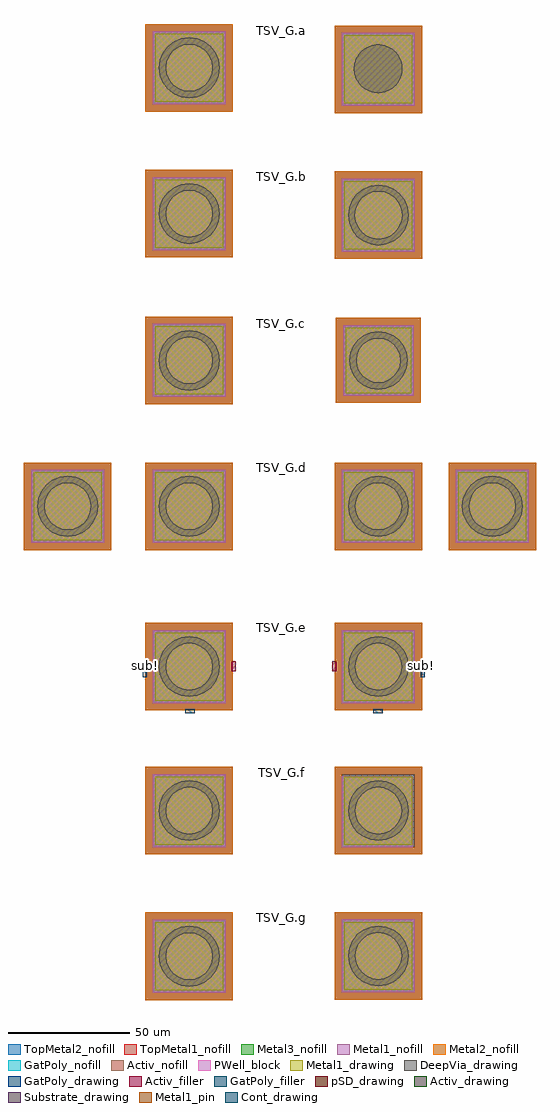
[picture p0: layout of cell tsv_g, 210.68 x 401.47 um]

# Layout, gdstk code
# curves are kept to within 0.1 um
import gdstk
lib = gdstk.Library(unit=1e-6, precision=1e-09)
def R(c, l, rs):  # rectangles x0, y0, x1, y1
    for r in rs: c.add(gdstk.rectangle(r[:2], r[2:], *l))
def P(c, l, *ps):  # polygons
    for p in ps: c.add(gdstk.Polygon(p, *l))
Activ_drawing = (1, 0)
Activ_filler = (1, 22)
Activ_nofill = (1, 23)
GatPoly_drawing = (5, 0)
GatPoly_filler = (5, 22)
GatPoly_nofill = (5, 23)
Cont_drawing = (6, 0)
Metal1_drawing = (8, 0)
Metal1_pin = (8, 2)
Metal1_nofill = (8, 23)
Metal2_nofill = (10, 23)
pSD_drawing = (14, 0)
Metal3_nofill = (30, 23)
Substrate_drawing = (40, 0)
PWell_block = (46, 21)
TopMetal1_nofill = (126, 23)
TopMetal2_nofill = (134, 23)
DeepVia_drawing = (152, 0)

tsv_g = lib.new_cell('tsv_g')
R(tsv_g, Activ_drawing, [(-56.125,-208.455,-55.345,-207.675), (57.315,-208.455,58.095,-207.675)])
R(tsv_g, Activ_filler, [(-20.345,-210.885,-18.685,-206.885), (20.93,-210.885,22.59,-206.885)])
R(tsv_g, Activ_nofill, [(-52.845,-343.155,-22.845,-313.155), (24.99,-343.025,54.99,-313.025), (-52.845,-283.23,-22.845,-253.23), (24.99,-283.23,54.99,-253.23), (-52.845,-223.99,-22.845,-193.99), (24.99,-223.99,54.99,-193.99), (-102.845,-158.075,-72.845,-128.075), (-52.845,-158.075,-22.845,-128.075), (24.99,-158.075,54.99,-128.075), (71.835,-158.075,101.835,-128.075), (-52.845,-98.06,-22.845,-68.06), (25.49,-97.56,54.49,-68.56), (24.99,-38.31,54.99,-8.31), (-52.845,-37.69,-22.845,-7.69), (24.99,21.69,54.99,51.69), (-52.845,22.31,-22.845,52.31)])
R(tsv_g, GatPoly_drawing, [(-57.005,-213.345,-55.345,-209.345), (57.315,-213.345,58.975,-209.345)])
R(tsv_g, GatPoly_filler, [(-39.525,-228.24,-35.525,-226.58), (37.77,-228.14,41.77,-226.48)])
R(tsv_g, GatPoly_nofill, [(-52.845,-343.155,-22.845,-313.155), (24.99,-343.025,54.99,-313.025), (-52.845,-283.23,-22.845,-253.23), (24.99,-283.23,54.99,-253.23), (-52.845,-223.99,-22.845,-193.99), (24.99,-223.99,54.99,-193.99), (-102.845,-158.075,-72.845,-128.075), (-52.845,-158.075,-22.845,-128.075), (24.99,-158.075,54.99,-128.075), (71.835,-158.075,101.835,-128.075), (-52.845,-98.06,-22.845,-68.06), (25.49,-97.56,54.49,-68.56), (24.99,-38.31,54.99,-8.31), (-52.845,-37.69,-22.845,-7.69), (24.99,21.69,54.99,51.69), (-52.845,22.31,-22.845,52.31)])
R(tsv_g, Cont_drawing, [(39.836,-226.64,39.996,-226.48), (-55.985,-208.315,-55.825,-208.155), (-55.645,-208.315,-55.485,-208.155), (57.455,-208.315,57.615,-208.155), (57.795,-208.315,57.955,-208.155), (-55.985,-207.975,-55.825,-207.815), (-55.645,-207.975,-55.485,-207.815), (57.455,-207.975,57.615,-207.815), (57.795,-207.975,57.955,-207.815)])
R(tsv_g, Metal1_drawing, [(-51.845,-342.155,-23.845,-314.155), (25.99,-342.025,53.86,-314.155), (-51.845,-282.23,-23.845,-254.23), (25.99,-282.23,53.99,-254.23), (-51.845,-222.99,-23.845,-194.99), (25.99,-222.99,53.99,-194.99), (57.455,-208.405,57.955,-207.75), (-55.985,-208.385,-55.485,-207.765), (-55.985,-208.315,-55.485,-207.815), (57.455,-208.315,57.955,-207.815), (-101.845,-157.075,-73.845,-129.075), (-51.845,-157.075,-23.845,-129.075), (25.99,-157.075,53.99,-129.075), (72.835,-157.075,100.835,-129.075), (-51.845,-97.06,-23.845,-69.06), (26.49,-96.56,53.49,-69.56), (25.99,-37.31,53.99,-9.31), (-51.845,-36.69,-23.845,-8.69), (25.99,22.69,53.99,50.69), (-51.845,23.31,-23.845,51.31)])
R(tsv_g, Metal1_pin, [(-55.985,-208.315,-55.485,-207.815), (57.455,-208.315,57.955,-207.815)])
R(tsv_g, Metal1_nofill, [(-55.845,-346.155,-19.845,-310.155), (21.99,-346.025,57.99,-310.025), (-55.845,-286.23,-19.845,-250.23), (21.99,-286.23,57.99,-250.23), (-55.845,-226.99,-19.845,-190.99), (21.99,-226.99,57.99,-190.99), (-105.845,-161.075,-69.845,-125.075), (-55.845,-161.075,-19.845,-125.075), (21.99,-161.075,57.99,-125.075), (68.835,-161.075,104.835,-125.075), (-55.845,-101.06,-19.845,-65.06), (22.49,-100.56,57.49,-65.56), (21.99,-41.31,57.99,-5.31), (-55.845,-40.69,-19.845,-4.69), (21.99,18.69,57.99,54.69), (-55.845,19.31,-19.845,55.31)])
R(tsv_g, Metal2_nofill, [(-55.845,-346.155,-19.845,-310.155), (21.99,-346.025,57.99,-310.025), (-55.845,-286.23,-19.845,-250.23), (21.99,-286.23,57.99,-250.23), (-55.845,-226.99,-19.845,-190.99), (21.99,-226.99,57.99,-190.99), (-105.845,-161.075,-69.845,-125.075), (-55.845,-161.075,-19.845,-125.075), (21.99,-161.075,57.99,-125.075), (68.835,-161.075,104.835,-125.075), (-55.845,-101.06,-19.845,-65.06), (22.49,-100.56,57.49,-65.56), (21.99,-41.31,57.99,-5.31), (-55.845,-40.69,-19.845,-4.69), (21.99,18.69,57.99,54.69), (-55.845,19.31,-19.845,55.31)])
R(tsv_g, pSD_drawing, [(-56.155,-208.485,-55.315,-207.645), (57.285,-208.485,58.125,-207.645)])
R(tsv_g, Metal3_nofill, [(-55.845,-346.155,-19.845,-310.155), (21.99,-346.025,57.99,-310.025), (-55.845,-286.23,-19.845,-250.23), (21.99,-286.23,57.99,-250.23), (-55.845,-226.99,-19.845,-190.99), (21.99,-226.99,57.99,-190.99), (-105.845,-161.075,-69.845,-125.075), (-55.845,-161.075,-19.845,-125.075), (21.99,-161.075,57.99,-125.075), (68.835,-161.075,104.835,-125.075), (-55.845,-101.06,-19.845,-65.06), (22.49,-100.56,57.49,-65.56), (21.99,-41.31,57.99,-5.31), (-55.845,-40.69,-19.845,-4.69), (21.99,18.69,57.99,54.69), (-55.845,19.31,-19.845,55.31)])
R(tsv_g, Substrate_drawing, [(-56.125,-208.455,-55.345,-207.675), (57.315,-208.455,58.095,-207.675)])
R(tsv_g, PWell_block, [(-52.845,-343.155,-22.845,-313.155), (24.99,-343.025,54.99,-313.025), (-52.845,-283.23,-22.845,-253.23), (24.99,-283.23,54.115,-254.105), (-52.845,-223.99,-22.845,-193.99), (24.99,-223.99,54.99,-193.99), (-102.845,-158.075,-72.845,-128.075), (-52.845,-158.075,-22.845,-128.075), (24.99,-158.075,54.99,-128.075), (71.835,-158.075,101.835,-128.075), (-52.845,-98.06,-22.845,-68.06), (25.49,-97.56,54.49,-68.56), (24.99,-38.31,54.99,-8.31), (-52.845,-37.69,-22.845,-7.69), (24.99,21.69,54.99,51.69), (-52.845,22.31,-22.845,52.31)])
R(tsv_g, TopMetal1_nofill, [(-55.845,-346.155,-19.845,-310.155), (21.99,-346.025,57.99,-310.025), (-55.845,-286.23,-19.845,-250.23), (21.99,-286.23,57.99,-250.23), (-55.845,-226.99,-19.845,-190.99), (21.99,-226.99,57.99,-190.99), (-105.845,-161.075,-69.845,-125.075), (-55.845,-161.075,-19.845,-125.075), (21.99,-161.075,57.99,-125.075), (68.835,-161.075,104.835,-125.075), (-55.845,-101.06,-19.845,-65.06), (22.49,-100.56,57.49,-65.56), (21.99,-41.31,57.99,-5.31), (-55.845,-40.69,-19.845,-4.69), (21.99,18.69,57.99,54.69), (-55.845,19.31,-19.845,55.31)])
R(tsv_g, TopMetal2_nofill, [(-55.845,-346.155,-19.845,-310.155), (21.99,-346.025,57.99,-310.025), (-55.845,-286.23,-19.845,-250.23), (21.99,-286.23,57.99,-250.23), (-55.845,-226.99,-19.845,-190.99), (21.99,-226.99,57.99,-190.99), (-105.845,-161.075,-69.845,-125.075), (-55.845,-161.075,-19.845,-125.075), (21.99,-161.075,57.99,-125.075), (68.835,-161.075,104.835,-125.075), (-55.845,-101.06,-19.845,-65.06), (22.49,-100.56,57.49,-65.56), (21.99,-41.31,57.99,-5.31), (-55.845,-40.69,-19.845,-4.69), (21.99,18.69,57.99,54.69), (-55.845,19.31,-19.845,55.31)])
P(tsv_g, DeepVia_drawing, [(39.635,26.908),(37.688,27.148),(35.826,27.763),(34.12,28.73),(32.635,30.011),(31.429,31.556),(30.547,33.308),(30.024,35.198),(29.88,37.153),(30.12,39.1),(30.735,40.962),(31.702,42.668),(32.983,44.153),(34.528,45.359),(36.28,46.241),(38.17,46.764),(40.125,46.908),(42.072,46.668),(43.934,46.053),(45.64,45.086),(47.125,43.805),(48.331,42.26),(49.213,40.508),(49.736,38.618),(49.88,36.663),(49.64,34.716),(49.025,32.854),(48.058,31.148),(46.777,29.663),(45.232,28.457),(43.48,27.575),(41.59,27.052)],
  [(-37.845,24.81),(-41.08,25.235),(-44.095,26.485),(-46.685,28.47),(-48.67,31.06),(-49.92,34.075),(-50.345,37.31),(-49.92,40.545),(-48.67,43.56),(-46.685,46.15),(-44.095,48.135),(-41.08,49.385),(-37.845,49.81),(-34.61,49.385),(-31.595,48.135),(-29.005,46.15),(-28.345,45.29),(-28.345,37.31),(-28.67,39.77),(-29.62,42.06),(-31.125,44.03),(-33.095,45.535),(-35.385,46.485),(-37.845,46.81),(-40.305,46.485),(-42.595,45.535),(-44.565,44.03),(-46.07,42.06),(-47.02,39.77),(-47.345,37.31),(-47.02,34.85),(-46.07,32.56),(-44.565,30.59),(-42.595,29.085),(-40.305,28.135),(-37.845,27.81),(-35.385,28.135),(-33.095,29.085),(-31.125,30.59),(-29.62,32.56),(-28.67,34.85),(-28.345,37.31),(-28.345,45.29),(-27.02,43.56),(-25.77,40.545),(-25.345,37.31),(-25.77,34.075),(-27.02,31.06),(-29.005,28.47),(-31.595,26.485),(-34.61,25.235)],
  [(39.99,-35.81),(36.755,-35.385),(33.74,-34.135),(31.15,-32.15),(29.165,-29.56),(27.915,-26.545),(27.49,-23.31),(27.915,-20.075),(29.165,-17.06),(30.29,-15.595),(30.29,-23.31),(30.62,-25.82),(31.59,-28.16),(33.13,-30.17),(35.14,-31.71),(37.48,-32.68),(39.99,-33.01),(42.5,-32.68),(44.84,-31.71),(46.85,-30.17),(48.39,-28.16),(49.36,-25.82),(49.69,-23.31),(49.36,-20.8),(48.39,-18.46),(46.85,-16.45),(44.84,-14.91),(42.5,-13.94),(39.99,-13.61),(37.48,-13.94),(35.14,-14.91),(33.13,-16.45),(31.59,-18.46),(30.62,-20.8),(30.29,-23.31),(30.29,-15.595),(31.15,-14.47),(33.74,-12.485),(36.755,-11.235),(39.99,-10.81),(43.225,-11.235),(46.24,-12.485),(48.83,-14.47),(50.815,-17.06),(52.065,-20.075),(52.49,-23.31),(52.065,-26.545),(50.815,-29.56),(48.83,-32.15),(46.24,-34.135),(43.225,-35.385)],
  [(39.99,-95.06),(36.885,-94.65),(33.99,-93.455),(31.505,-91.545),(29.595,-89.06),(28.4,-86.165),(27.99,-83.06),(28.4,-79.955),(29.595,-77.06),(30.99,-75.245),(30.99,-83.06),(31.295,-85.39),(32.195,-87.56),(33.625,-89.425),(35.49,-90.855),(37.66,-91.755),(39.99,-92.06),(42.32,-91.755),(44.49,-90.855),(46.355,-89.425),(47.785,-87.56),(48.685,-85.39),(48.99,-83.06),(48.685,-80.73),(47.785,-78.56),(46.355,-76.695),(44.49,-75.265),(42.32,-74.365),(39.99,-74.06),(37.66,-74.365),(35.49,-75.265),(33.625,-76.695),(32.195,-78.56),(31.295,-80.73),(30.99,-83.06),(30.99,-75.245),(31.505,-74.575),(33.99,-72.665),(36.885,-71.47),(39.99,-71.06),(43.095,-71.47),(45.99,-72.665),(48.475,-74.575),(50.385,-77.06),(51.58,-79.955),(51.99,-83.06),(51.58,-86.165),(50.385,-89.06),(48.475,-91.545),(45.99,-93.455),(43.095,-94.65)],
  [(-37.845,-35.19),(-41.08,-34.765),(-44.095,-33.515),(-46.685,-31.53),(-48.67,-28.94),(-49.92,-25.925),(-50.345,-22.69),(-49.92,-19.455),(-48.67,-16.44),(-46.685,-13.85),(-44.095,-11.865),(-41.08,-10.615),(-37.845,-10.19),(-34.61,-10.615),(-31.595,-11.865),(-29.005,-13.85),(-28.345,-14.71),(-28.345,-22.69),(-28.67,-20.23),(-29.62,-17.94),(-31.125,-15.97),(-33.095,-14.465),(-35.385,-13.515),(-37.845,-13.19),(-40.305,-13.515),(-42.595,-14.465),(-44.565,-15.97),(-46.07,-17.94),(-47.02,-20.23),(-47.345,-22.69),(-47.02,-25.15),(-46.07,-27.44),(-44.565,-29.41),(-42.595,-30.915),(-40.305,-31.865),(-37.845,-32.19),(-35.385,-31.865),(-33.095,-30.915),(-31.125,-29.41),(-29.62,-27.44),(-28.67,-25.15),(-28.345,-22.69),(-28.345,-14.71),(-27.02,-16.44),(-25.77,-19.455),(-25.345,-22.69),(-25.77,-25.925),(-27.02,-28.94),(-29.005,-31.53),(-31.595,-33.515),(-34.61,-34.765)],
  [(-37.845,-95.56),(-41.08,-95.135),(-44.095,-93.885),(-46.685,-91.9),(-48.67,-89.31),(-49.92,-86.295),(-50.345,-83.06),(-49.92,-79.825),(-48.67,-76.81),(-46.685,-74.22),(-44.095,-72.235),(-41.08,-70.985),(-37.845,-70.56),(-34.61,-70.985),(-31.595,-72.235),(-29.005,-74.22),(-28.345,-75.08),(-28.345,-83.06),(-28.67,-80.6),(-29.62,-78.31),(-31.125,-76.34),(-33.095,-74.835),(-35.385,-73.885),(-37.845,-73.56),(-40.305,-73.885),(-42.595,-74.835),(-44.565,-76.34),(-46.07,-78.31),(-47.02,-80.6),(-47.345,-83.06),(-47.02,-85.52),(-46.07,-87.81),(-44.565,-89.78),(-42.595,-91.285),(-40.305,-92.235),(-37.845,-92.56),(-35.385,-92.235),(-33.095,-91.285),(-31.125,-89.78),(-29.62,-87.81),(-28.67,-85.52),(-28.345,-83.06),(-28.345,-75.08),(-27.02,-76.81),(-25.77,-79.825),(-25.345,-83.06),(-25.77,-86.295),(-27.02,-89.31),(-29.005,-91.9),(-31.595,-93.885),(-34.61,-95.135)],
  [(-37.845,-155.575),(-41.08,-155.15),(-44.095,-153.9),(-46.685,-151.915),(-48.67,-149.325),(-49.92,-146.31),(-50.345,-143.075),(-49.92,-139.84),(-48.67,-136.825),(-46.685,-134.235),(-44.095,-132.25),(-41.08,-131),(-37.845,-130.575),(-34.61,-131),(-31.595,-132.25),(-29.005,-134.235),(-28.345,-135.095),(-28.345,-143.075),(-28.67,-140.615),(-29.62,-138.325),(-31.125,-136.355),(-33.095,-134.85),(-35.385,-133.9),(-37.845,-133.575),(-40.305,-133.9),(-42.595,-134.85),(-44.565,-136.355),(-46.07,-138.325),(-47.02,-140.615),(-47.345,-143.075),(-47.02,-145.535),(-46.07,-147.825),(-44.565,-149.795),(-42.595,-151.3),(-40.305,-152.25),(-37.845,-152.575),(-35.385,-152.25),(-33.095,-151.3),(-31.125,-149.795),(-29.62,-147.825),(-28.67,-145.535),(-28.345,-143.075),(-28.345,-135.095),(-27.02,-136.825),(-25.77,-139.84),(-25.345,-143.075),(-25.77,-146.31),(-27.02,-149.325),(-29.005,-151.915),(-31.595,-153.9),(-34.61,-155.15)],
  [(-87.845,-155.575),(-91.08,-155.15),(-94.095,-153.9),(-96.685,-151.915),(-98.67,-149.325),(-99.92,-146.31),(-100.345,-143.075),(-99.92,-139.84),(-98.67,-136.825),(-96.685,-134.235),(-94.095,-132.25),(-91.08,-131),(-87.845,-130.575),(-84.61,-131),(-81.595,-132.25),(-79.005,-134.235),(-78.345,-135.095),(-78.345,-143.075),(-78.67,-140.615),(-79.62,-138.325),(-81.125,-136.355),(-83.095,-134.85),(-85.385,-133.9),(-87.845,-133.575),(-90.305,-133.9),(-92.595,-134.85),(-94.565,-136.355),(-96.07,-138.325),(-97.02,-140.615),(-97.345,-143.075),(-97.02,-145.535),(-96.07,-147.825),(-94.565,-149.795),(-92.595,-151.3),(-90.305,-152.25),(-87.845,-152.575),(-85.385,-152.25),(-83.095,-151.3),(-81.125,-149.795),(-79.62,-147.825),(-78.67,-145.535),(-78.345,-143.075),(-78.345,-135.095),(-77.02,-136.825),(-75.77,-139.84),(-75.345,-143.075),(-75.77,-146.31),(-77.02,-149.325),(-79.005,-151.915),(-81.595,-153.9),(-84.61,-155.15)],
  [(-37.845,-221.49),(-41.08,-221.065),(-44.095,-219.815),(-46.685,-217.83),(-48.67,-215.24),(-49.92,-212.225),(-50.345,-208.99),(-49.92,-205.755),(-48.67,-202.74),(-46.685,-200.15),(-44.095,-198.165),(-41.08,-196.915),(-37.845,-196.49),(-34.61,-196.915),(-31.595,-198.165),(-29.005,-200.15),(-28.345,-201.01),(-28.345,-208.99),(-28.67,-206.53),(-29.62,-204.24),(-31.125,-202.27),(-33.095,-200.765),(-35.385,-199.815),(-37.845,-199.49),(-40.305,-199.815),(-42.595,-200.765),(-44.565,-202.27),(-46.07,-204.24),(-47.02,-206.53),(-47.345,-208.99),(-47.02,-211.45),(-46.07,-213.74),(-44.565,-215.71),(-42.595,-217.215),(-40.305,-218.165),(-37.845,-218.49),(-35.385,-218.165),(-33.095,-217.215),(-31.125,-215.71),(-29.62,-213.74),(-28.67,-211.45),(-28.345,-208.99),(-28.345,-201.01),(-27.02,-202.74),(-25.77,-205.755),(-25.345,-208.99),(-25.77,-212.225),(-27.02,-215.24),(-29.005,-217.83),(-31.595,-219.815),(-34.61,-221.065)],
  [(-37.845,-280.73),(-41.08,-280.305),(-44.095,-279.055),(-46.685,-277.07),(-48.67,-274.48),(-49.92,-271.465),(-50.345,-268.23),(-49.92,-264.995),(-48.67,-261.98),(-46.685,-259.39),(-44.095,-257.405),(-41.08,-256.155),(-37.845,-255.73),(-34.61,-256.155),(-31.595,-257.405),(-29.005,-259.39),(-28.345,-260.25),(-28.345,-268.23),(-28.67,-265.77),(-29.62,-263.48),(-31.125,-261.51),(-33.095,-260.005),(-35.385,-259.055),(-37.845,-258.73),(-40.305,-259.055),(-42.595,-260.005),(-44.565,-261.51),(-46.07,-263.48),(-47.02,-265.77),(-47.345,-268.23),(-47.02,-270.69),(-46.07,-272.98),(-44.565,-274.95),(-42.595,-276.455),(-40.305,-277.405),(-37.845,-277.73),(-35.385,-277.405),(-33.095,-276.455),(-31.125,-274.95),(-29.62,-272.98),(-28.67,-270.69),(-28.345,-268.23),(-28.345,-260.25),(-27.02,-261.98),(-25.77,-264.995),(-25.345,-268.23),(-25.77,-271.465),(-27.02,-274.48),(-29.005,-277.07),(-31.595,-279.055),(-34.61,-280.305)],
  [(-37.845,-340.655),(-41.08,-340.23),(-44.095,-338.98),(-46.685,-336.995),(-48.67,-334.405),(-49.92,-331.39),(-50.345,-328.155),(-49.92,-324.92),(-48.67,-321.905),(-46.685,-319.315),(-44.095,-317.33),(-41.08,-316.08),(-37.845,-315.655),(-34.61,-316.08),(-31.595,-317.33),(-29.005,-319.315),(-28.345,-320.175),(-28.345,-328.155),(-28.67,-325.695),(-29.62,-323.405),(-31.125,-321.435),(-33.095,-319.93),(-35.385,-318.98),(-37.845,-318.655),(-40.305,-318.98),(-42.595,-319.93),(-44.565,-321.435),(-46.07,-323.405),(-47.02,-325.695),(-47.345,-328.155),(-47.02,-330.615),(-46.07,-332.905),(-44.565,-334.875),(-42.595,-336.38),(-40.305,-337.33),(-37.845,-337.655),(-35.385,-337.33),(-33.095,-336.38),(-31.125,-334.875),(-29.62,-332.905),(-28.67,-330.615),(-28.345,-328.155),(-28.345,-320.175),(-27.02,-321.905),(-25.77,-324.92),(-25.345,-328.155),(-25.77,-331.39),(-27.02,-334.405),(-29.005,-336.995),(-31.595,-338.98),(-34.61,-340.23)],
  [(39.99,-280.73),(36.755,-280.305),(33.74,-279.055),(31.15,-277.07),(29.165,-274.48),(27.915,-271.465),(27.49,-268.23),(27.915,-264.995),(29.165,-261.98),(30.49,-260.25),(30.49,-268.23),(30.815,-270.69),(31.765,-272.98),(33.27,-274.95),(35.24,-276.455),(37.53,-277.405),(39.99,-277.73),(42.45,-277.405),(44.74,-276.455),(46.71,-274.95),(48.215,-272.98),(49.165,-270.69),(49.49,-268.23),(49.165,-265.77),(48.215,-263.48),(46.71,-261.51),(44.74,-260.005),(42.45,-259.055),(39.99,-258.73),(37.53,-259.055),(35.24,-260.005),(33.27,-261.51),(31.765,-263.48),(30.815,-265.77),(30.49,-268.23),(30.49,-260.25),(31.15,-259.39),(33.74,-257.405),(36.755,-256.155),(39.99,-255.73),(43.225,-256.155),(46.24,-257.405),(48.83,-259.39),(50.815,-261.98),(52.065,-264.995),(52.49,-268.23),(52.065,-271.465),(50.815,-274.48),(48.83,-277.07),(46.24,-279.055),(43.225,-280.305)],
  [(39.99,-340.525),(36.755,-340.1),(33.74,-338.85),(31.15,-336.865),(29.165,-334.275),(27.915,-331.26),(27.49,-328.025),(27.915,-324.79),(29.165,-321.775),(30.49,-320.045),(30.49,-328.025),(30.815,-330.485),(31.765,-332.775),(33.27,-334.745),(35.24,-336.25),(37.53,-337.2),(39.99,-337.525),(42.45,-337.2),(44.74,-336.25),(46.71,-334.745),(48.215,-332.775),(49.165,-330.485),(49.49,-328.025),(49.165,-325.565),(48.215,-323.275),(46.71,-321.305),(44.74,-319.8),(42.45,-318.85),(39.99,-318.525),(37.53,-318.85),(35.24,-319.8),(33.27,-321.305),(31.765,-323.275),(30.815,-325.565),(30.49,-328.025),(30.49,-320.045),(31.15,-319.185),(33.74,-317.2),(36.755,-315.95),(39.99,-315.525),(43.225,-315.95),(46.24,-317.2),(48.83,-319.185),(50.815,-321.775),(52.065,-324.79),(52.49,-328.025),(52.065,-331.26),(50.815,-334.275),(48.83,-336.865),(46.24,-338.85),(43.225,-340.1)],
  [(39.99,-155.575),(36.755,-155.15),(33.74,-153.9),(31.15,-151.915),(29.165,-149.325),(27.915,-146.31),(27.49,-143.075),(27.915,-139.84),(29.165,-136.825),(30.49,-135.095),(30.49,-143.075),(30.815,-145.535),(31.765,-147.825),(33.27,-149.795),(35.24,-151.3),(37.53,-152.25),(39.99,-152.575),(42.45,-152.25),(44.74,-151.3),(46.71,-149.795),(48.215,-147.825),(49.165,-145.535),(49.49,-143.075),(49.165,-140.615),(48.215,-138.325),(46.71,-136.355),(44.74,-134.85),(42.45,-133.9),(39.99,-133.575),(37.53,-133.9),(35.24,-134.85),(33.27,-136.355),(31.765,-138.325),(30.815,-140.615),(30.49,-143.075),(30.49,-135.095),(31.15,-134.235),(33.74,-132.25),(36.755,-131),(39.99,-130.575),(43.225,-131),(46.24,-132.25),(48.83,-134.235),(50.815,-136.825),(52.065,-139.84),(52.49,-143.075),(52.065,-146.31),(50.815,-149.325),(48.83,-151.915),(46.24,-153.9),(43.225,-155.15)],
  [(39.99,-221.49),(36.755,-221.065),(33.74,-219.815),(31.15,-217.83),(29.165,-215.24),(27.915,-212.225),(27.49,-208.99),(27.915,-205.755),(29.165,-202.74),(30.49,-201.01),(30.49,-208.99),(30.815,-211.45),(31.765,-213.74),(33.27,-215.71),(35.24,-217.215),(37.53,-218.165),(39.99,-218.49),(42.45,-218.165),(44.74,-217.215),(46.71,-215.71),(48.215,-213.74),(49.165,-211.45),(49.49,-208.99),(49.165,-206.53),(48.215,-204.24),(46.71,-202.27),(44.74,-200.765),(42.45,-199.815),(39.99,-199.49),(37.53,-199.815),(35.24,-200.765),(33.27,-202.27),(31.765,-204.24),(30.815,-206.53),(30.49,-208.99),(30.49,-201.01),(31.15,-200.15),(33.74,-198.165),(36.755,-196.915),(39.99,-196.49),(43.225,-196.915),(46.24,-198.165),(48.83,-200.15),(50.815,-202.74),(52.065,-205.755),(52.49,-208.99),(52.065,-212.225),(50.815,-215.24),(48.83,-217.83),(46.24,-219.815),(43.225,-221.065)],
  [(86.835,-155.575),(83.6,-155.15),(80.585,-153.9),(77.995,-151.915),(76.01,-149.325),(74.76,-146.31),(74.335,-143.075),(74.76,-139.84),(76.01,-136.825),(77.335,-135.095),(77.335,-143.075),(77.66,-145.535),(78.61,-147.825),(80.115,-149.795),(82.085,-151.3),(84.375,-152.25),(86.835,-152.575),(89.295,-152.25),(91.585,-151.3),(93.555,-149.795),(95.06,-147.825),(96.01,-145.535),(96.335,-143.075),(96.01,-140.615),(95.06,-138.325),(93.555,-136.355),(91.585,-134.85),(89.295,-133.9),(86.835,-133.575),(84.375,-133.9),(82.085,-134.85),(80.115,-136.355),(78.61,-138.325),(77.66,-140.615),(77.335,-143.075),(77.335,-135.095),(77.995,-134.235),(80.585,-132.25),(83.6,-131),(86.835,-130.575),(90.07,-131),(93.085,-132.25),(95.675,-134.235),(97.66,-136.825),(98.91,-139.84),(99.335,-143.075),(98.91,-146.31),(97.66,-149.325),(95.675,-151.915),(93.085,-153.9),(90.07,-155.15)])
tsv_g.add(gdstk.Label('sub!', (-55.735,-208.445), layer=40, texttype=0))
tsv_g.add(gdstk.Label('sub!', (57.705,-208.445), layer=40, texttype=0))
tsv_g.add(gdstk.Label('TSV_G.c', (0,-67.79), layer=63, texttype=0))
tsv_g.add(gdstk.Label('FAIL', (12,67.06), layer=63, texttype=0))
tsv_g.add(gdstk.Label('PASS', (-12,67.06), layer=63, texttype=0))
tsv_g.add(gdstk.Label('TSV_G.a', (0,52.66), layer=63, texttype=0))
tsv_g.add(gdstk.Label('10.1_TSV_G', (0,83.06), layer=63, texttype=0))
tsv_g.add(gdstk.Label('sub!', (-55.735,-208.445), layer=63, texttype=0))
tsv_g.add(gdstk.Label('sub!', (57.705,-208.445), layer=63, texttype=0))
tsv_g.add(gdstk.Label('TSV_G.d', (0,-127.305), layer=63, texttype=0))
tsv_g.add(gdstk.Label('TSV_G.f', (0,-252.39), layer=63, texttype=0))
tsv_g.add(gdstk.Label('TSV_G.b', (0,-7.335), layer=63, texttype=0))
tsv_g.add(gdstk.Label('TSV_G.e', (0,-192.805), layer=63, texttype=0))
tsv_g.add(gdstk.Label('TSV_G.g', (0,-312.275), layer=63, texttype=0))

lib.write_gds('tsv_g.gds')
